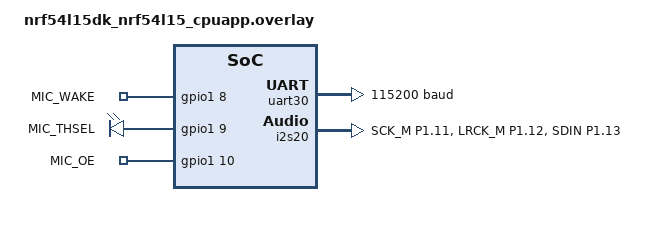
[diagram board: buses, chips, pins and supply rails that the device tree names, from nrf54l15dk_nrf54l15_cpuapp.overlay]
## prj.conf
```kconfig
CONFIG_GPIO=y
CONFIG_PRINTK=y
CONFIG_LOG=y
CONFIG_I2S=y
CONFIG_I2S_NRFX=y
CONFIG_I2S_INIT_PRIORITY=60
CONFIG_I2S_LOG_LEVEL_DBG=y
CONFIG_GPIO_LOG_LEVEL_DBG=y
CONFIG_ASSERT=y
CONFIG_DEBUG=y
CONFIG_SERIAL=y
CONFIG_UART_CONSOLE=y
CONFIG_UART_INTERRUPT_DRIVEN=y
CONFIG_AUDIO=y
#CONFIG_AUDIO_DMIC=y
CONFIG_LOG_MODE_DEFERRED=y
CONFIG_LOG_DEFAULT_LEVEL=4

#CONFIG_USE_SEGGER_RTT=n
#CONFIG_DEBUG_THREAD_INFO=n
CONFIG_CLOCK_CONTROL_NRF=y
CONFIG_NRF_TRACE_PORT=n
CONFIG_HW_STACK_PROTECTION=n
#CONFIG_NRF_SW_TRACE=n
CONFIG_THREAD_NAME=n
CONFIG_SEGGER_SYSTEMVIEW=n
CONFIG_DEBUG_OPTIMIZATIONS=n
CONFIG_DEBUG_THREAD_INFO=n
CONFIG_DEBUG_COREDUMP=n

CONFIG_CLOCK_CONTROL_NRF_K32SRC_XTAL=y
```

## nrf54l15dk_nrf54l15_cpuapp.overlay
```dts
// To get started, press Ctrl+Space (or Option+Esc) to bring up the completion menu and view the available nodes.

// You can also use the buttons in the sidebar to perform actions on nodes.
// Actions currently available include:

// * Enabling / disabling the node
// * Adding the bus to a bus
// * Removing the node
// * Connecting ADC channels

// For more help, browse the DeviceTree documentation at https://docs.zephyrproject.org/latest/guides/dts/index.html
// You can also visit the nRF DeviceTree extension documentation at https://docs.nordicsemi.com/bundle/nrf-connect-vscode/page/guides/ncs_configure_app.html#devicetree-support-in-the-extension

// Disable NFC to use NFC pins as GPIOs
&nfct {
    status = "disabled";
};
&uicr {
    nfct-pins-as-gpios;
};
// Disable UART to use UART pins as GPIOs
&uart20 {
    status = "disabled";
};

&led0 {
    status = "disabled";
};
&led1 {
    status = "disabled";
};
&led2 {
    status = "disabled";
};
&button0 {
    status = "disabled";
};
&button1 {
    status = "disabled";
};
&button2 {
    status = "disabled";
};
&button3 {
    status = "disabled";
};
&pwm20 {
    status = "disabled";
};


&spi00 {
    status = "disabled";
};


/*&clock {
    //hfclkaudio-frequency = <12288000>;  // Exemple : 12.288 MHz → 48 kHz multiples 
    // 11289600
};*/

// Redirect logs (printk) to UART 30
&uart30 {
    status = "okay";
    current-speed = <115200>;
    pinctrl-0 = <&uart30_default>;
    pinctrl-1 = <&uart30_sleep>;
    pinctrl-names = "default", "sleep";
};
&{/chosen} {
    zephyr,console = &uart30;
    zephyr,shell-uart = &uart30;
    zephyr,uart-mcumgr = &uart30;
};

&i2s20 {
    status = "okay";
    label = "i2s0_mic";
    compatible = "nordic,nrf-i2s";
    pinctrl-0 = <&i2s0_default>;
    pinctrl-names = "default";

    clock-source = "PCLK32M_HFXO";  // High-accuracy 32 MHz clock
};

&pinctrl {
    i2s0_default: i2s0_default {
        group1 {
            psels = <NRF_PSEL(I2S_SCK_M, 1, 11)>,  // MIC_CLK (SCK - Serial Clock)
                    <NRF_PSEL(I2S_LRCK_M, 1, 12)>, // MIC_WS
                    <NRF_PSEL(I2S_SDIN, 1, 13)>; // MIC_DATA
        };
    };
};

/* Microphone Control GPIOs */
/*
&gpio2 {
    status = "okay";
    
    mic_wake: mic_wake {
        status = "okay";
        compatible = "nordic,gpio-pins";
        gpios = <&gpio2 5 GPIO_ACTIVE_HIGH>; // MIC_WAKE
    };

    mic_thsel: mic_thsel {
        status = "okay";
        compatible = "nordic,gpio-pins";
        gpios = <&gpio2 7 GPIO_ACTIVE_HIGH>;  // MIC_THSEL
    };

    mic_oe: mic_oe {
        status = "okay";
        compatible = "nordic,gpio-pins";
        gpios = <&gpio2 10 GPIO_ACTIVE_HIGH>; // MIC_OE
    };
};*/

&gpio2 {
    status = "okay";
};

&gpio1 {
    status = "okay";
};

/ {
    mic_gpio: mic_gpio {
        compatible = "gpio-leds";

        mic_wake: mic_wake {
            gpios = <&gpio1 8 GPIO_ACTIVE_HIGH>;
            label = "MIC_WAKE";
        };

        mic_thsel: mic_thsel {
            gpios = <&gpio1 9 GPIO_ACTIVE_HIGH>;
            label = "MIC_THSEL";
        };

        mic_oe: mic_oe {
            gpios = <&gpio1 10 GPIO_ACTIVE_HIGH>;
            label = "MIC_OE";
        };
        
        /*test_data: test_data {
            gpios = <&gpio2 9 GPIO_ACTIVE_HIGH>; // P2.09 = MIC_DATA
            label = "TEST_DATA";
        };*/
    };
};
```

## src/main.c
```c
#include <zephyr/kernel.h>
#include <zephyr/device.h>
#include <zephyr/drivers/i2s.h>
#include <zephyr/drivers/gpio.h>

#define SAMPLE_BIT_WIDTH     32
#define NUMBER_OF_CHANNELS   1
#define SAMPLE_FREQUENCY     12000
#define BYTES_PER_SAMPLE     4
#define SAMPLES_PER_BLOCK    1200
#define BLOCK_SIZE           4
#define BLOCK_COUNT          4

K_MEM_SLAB_DEFINE_STATIC(i2s_slab, BLOCK_SIZE, BLOCK_COUNT, 4);

#define I2S_NODE DT_NODELABEL(i2s20)
static const struct device *i2s_dev = DEVICE_DT_GET(I2S_NODE);

#define MIC_WAKE_NODE  DT_NODELABEL(mic_wake)
#define MIC_OE_NODE    DT_NODELABEL(mic_oe)
#define MIC_THSEL_NODE DT_NODELABEL(mic_thsel)

static const struct gpio_dt_spec mic_wake  = GPIO_DT_SPEC_GET(MIC_WAKE_NODE, gpios);
static const struct gpio_dt_spec mic_oe    = GPIO_DT_SPEC_GET(MIC_OE_NODE, gpios);
static const struct gpio_dt_spec mic_thsel = GPIO_DT_SPEC_GET(MIC_THSEL_NODE, gpios);

void main(void)
{
    
    // DEBUG
    //gpio_pin_configure_dt(&mic_thsel, GPIO_OUTPUT_HIGH);
    //gpio_pin_configure_dt(&mic_wake, GPIO_INPUT);
    gpio_pin_configure_dt(&mic_wake, GPIO_DISCONNECTED);
    gpio_pin_configure_dt(&mic_thsel, GPIO_DISCONNECTED); // disable THSEL (temporary)
    gpio_pin_configure_dt(&mic_oe, GPIO_OUTPUT_HIGH);

    printk("MIC_WAKE: %d, MIC_OE: %d, MIC_THSEL: %d\n",
        gpio_pin_get_dt(&mic_wake),
        gpio_pin_get_dt(&mic_oe),
        gpio_pin_get_dt(&mic_thsel));

    if (!device_is_ready(i2s_dev)) {
        printk("I2S device not ready\n");
        return;
    }

    #if DT_NODE_HAS_STATUS(I2S_NODE, okay)
    {
        printk("I2S device is ready\n");
    }
    #else
    {
        printk("I2S device is not ready\n");
        return;
    }
    #endif

    struct i2s_config cfg = {
        .word_size      = SAMPLE_BIT_WIDTH,
        .channels       = NUMBER_OF_CHANNELS,
        .format         = I2S_FMT_DATA_FORMAT_I2S,
        .options        = I2S_OPT_FRAME_CLK_MASTER | I2S_OPT_BIT_CLK_MASTER,
        .frame_clk_freq = SAMPLE_FREQUENCY,
        .block_size     = BLOCK_SIZE,
        .mem_slab       = &i2s_slab,
        .timeout        = 2000,
    };

    int ret = i2s_configure(i2s_dev, I2S_DIR_BOTH, &cfg);
    if (ret != 0) {
        printk("I2S configure failed: %d\n", ret);
        return;
    }

    //i2s_trigger(i2s_dev, I2S_DIR_BOTH, I2S_TRIGGER_PREPARE);

    // Pré-allocation des blocs RX (double buffering)
    for (int i = 0; i < 2; i++) {
        void *block;
        ret = k_mem_slab_alloc(&i2s_slab, &block, K_NO_WAIT);
        if (ret != 0) {
            printk("Failed to allocate RX block %d\n", i);
            return;
        }
        memset(block, 0, BLOCK_SIZE); // Initialiser le bloc à zéro

        ret = i2s_write(i2s_dev, block, BLOCK_SIZE);
        if (ret != 0) {
            printk("Failed to write initial buffer: %d\n", ret);
            return;
        }
    }

    ret = i2s_trigger(i2s_dev, I2S_DIR_BOTH, I2S_TRIGGER_START);
    if (ret != 0) {
        printk("Failed to start I2S: %d\n", ret);
        return;
    }

    printk("I2S started successfully\n");

    while (1) {
        uint32_t* tx_data = NULL;
        ret = k_mem_slab_alloc(&i2s_slab, (void**) &tx_data, K_NO_WAIT);
        if (ret != 0) {
            printk("Failed to allocate TX block\n");
            return;
        }
        memset(tx_data, 0x12345678, BLOCK_SIZE);

        ret = i2s_write(i2s_dev, tx_data, BLOCK_SIZE);
        if (ret == 0) {
            printk("RX received %u bytes\n", BLOCK_SIZE);
            //k_mem_slab_free(&i2s_slab, &rx_block);
        } else {
            printk("Read error: %d\n", ret);
        }

        /*void *rx_block;
        ret = k_mem_slab_alloc(&i2s_slab, &rx_block, K_NO_WAIT);
        if (ret != 0) {
            printk("Failed to allocate RX block");
            return;
        }
        memset(rx_block, 0, BLOCK_SIZE);
        size_t rx_size = BLOCK_SIZE;

        ret = i2s_read(i2s_dev, &rx_block, &rx_size);
        if (ret == 0) {
            printk("RX received %u bytes\n", BLOCK_SIZE);
            //k_mem_slab_free(&i2s_slab, &rx_block);
        } else {
            printk("Read error: %d\n", ret);
        }
        ret = i2s_write(i2s_dev, &rx_block, &rx_size);
        if (ret == 0) {
            printk("RX received %u bytes\n", rx_size);
            //k_mem_slab_free(&i2s_slab, &rx_block);
        } else {
            printk("Read error: %d\n", ret);
        }*/

        k_sleep(K_MSEC(10));
    }
    
}
```
